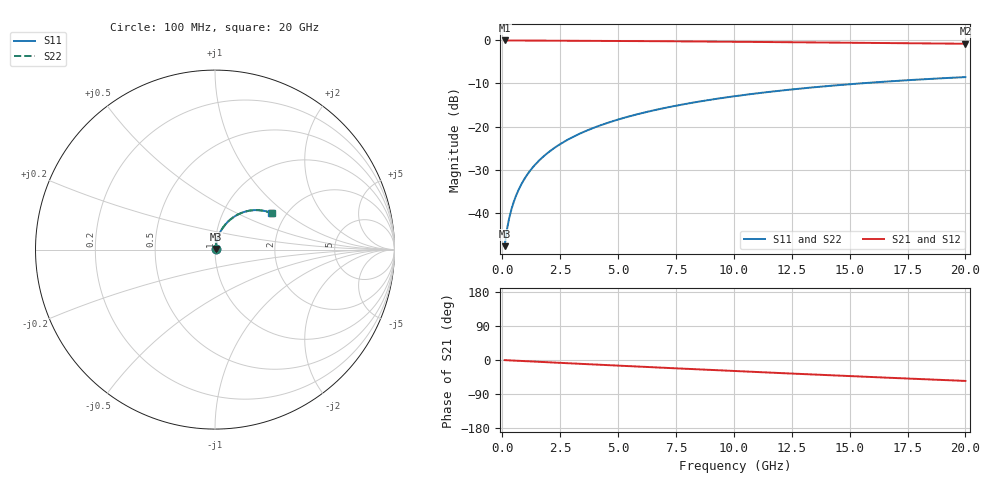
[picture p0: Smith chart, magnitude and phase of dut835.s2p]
! Touchstone file exported from HFSS 2026.1.0
!  File:  C:/ffzhzh/LocalFiles/Ansys_Project_Files/temp_train_TMRDL_835_1783156701_55132.aedt
!  Generated:  05:19:46 PM Jul  4, 2026
!  Design:  TMRDL
!  Project:  temp_train_TMRDL_835_1783156701_55132
! Variables:
!  h_bsmrdl = 2um
!  h_ox = 20um
!  h_rdl = 5um
!  h_sub = 80um
!  h_tmrdl = 5.25um
!  h_tsv = 80um
!  h_via = 3um
!  l_bsmrdl = 300um
!  l_sub = 1309.28um
!  l_tmrdl = 909.28um
!  m_sub = 200um
!  pitch = 42.4um
!  r_tsv = 6um
!  s_tmrdl = 10um
!  w_bsmrdl = 18um
!  w_sub = 500um
!  w_tmrdl = 22.45um
!  x_tsv_center1 = 920.505um
!  x_tsv_center2 = 1238.505um
!  x_tsv_center3 = 2170.235um
!  x_tsv_center4 = 2488.235um
!  x_tsv_center5 = 3419.965um
!  x_tsv_center6 = 3737.965um
# GHz S MA R 50.000000
! Terminal data exported
! Port[1] = TM_RDL1_1_T1
! Port[2] = TM_RDL1_1_T2
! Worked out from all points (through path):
!   200 points, 100 MHz to 20 GHz, reference 50 ohm
!   highest |S21| = -0.03 dB at 100 MHz (marker M1); lowest = -0.8 dB at 20 GHz (marker M2)
!   group delay of S21, straight-line fit = 7.66 ps
!   lowest |S11| = -47.8 dB at 100 MHz (marker M3), VSWR 1.01, Z = 50.3 + j0.285 ohm
!   |S11| at or under -10 dB: start of sweep to 15.44 GHz
!   |S22| runs from -47.8 to -8.5 dB; largest |S21 - S12| = 2.1e-14
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0.1  0.004091 43.8  0.9971 -0.3  0.9971 -0.3  0.004091 43.8
! Gamma 0 0 0 0
! Port Impedance 50 0 50 0
0.2  0.006352 59.4  0.9968 -0.6  0.9968 -0.6  0.006352 59.4
0.3  0.008705 66.3  0.9966 -0.9  0.9966 -0.9  0.008705 66.3
0.4  0.01108 70.4  0.9965 -1.2  0.9965 -1.2  0.01108 70.4
0.5  0.01349 73.0  0.9963 -1.5  0.9963 -1.5  0.01349 73.0
0.6  0.01592 74.8  0.9962 -1.8  0.9962 -1.8  0.01592 74.8
0.8  0.02082 77.0  0.996 -2.4  0.996 -2.4  0.02082 77.0
1.1  0.02823 78.5  0.9956 -3.3  0.9956 -3.3  0.02823 78.5
1.5  0.03812 78.9  0.995 -4.6  0.995 -4.6  0.03812 78.9
1.8  0.0455 78.7  0.9944 -5.5  0.9944 -5.5  0.0455 78.7
2.1  0.05284 78.3  0.9937 -6.3  0.9937 -6.3  0.05284 78.3
2.7  0.06732 77.1  0.9922 -8.1  0.9922 -8.1  0.06732 77.1
3.5  0.08624 75.2  0.9898 -10.5  0.9898 -10.5  0.08624 75.2
4.2  0.1024 73.4  0.9875 -12.5  0.9875 -12.5  0.1024 73.4
5  0.1205 71.3  0.9847 -14.9  0.9847 -14.9  0.1205 71.3
5.9  0.1404 69.0  0.9813 -17.4  0.9813 -17.4  0.1404 68.9
6.8  0.1597 66.6  0.9776 -20.0  0.9776 -20.0  0.1597 66.6
8.3  0.1908 62.6  0.9711 -24.3  0.9711 -24.3  0.1908 62.6
10.1  0.226 57.9  0.9627 -29.3  0.9627 -29.3  0.226 57.9
13.4  0.2844 49.3  0.9461 -38.2  0.9461 -38.2  0.2844 49.3
16.7  0.3341 41.0  0.9292 -46.9  0.9292 -46.9  0.334 40.9
20  0.3746 32.9  0.9134 -55.2  0.9134 -55.2  0.3746 32.8
